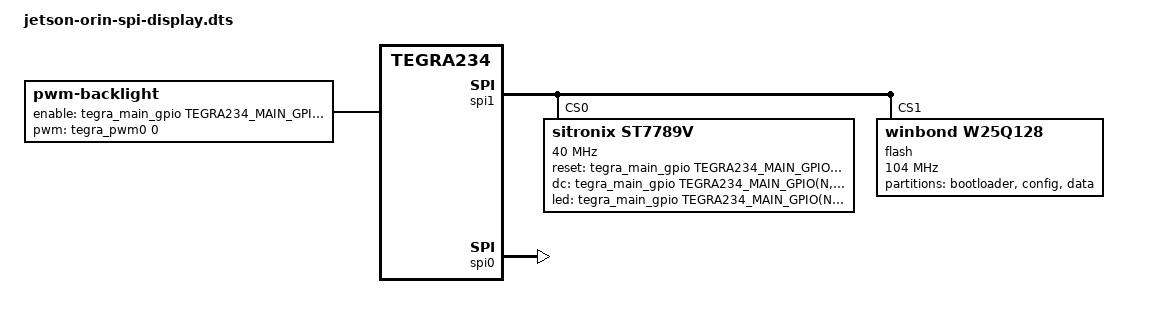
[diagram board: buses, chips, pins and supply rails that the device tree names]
/*
 * jetson-orin-spi-display.dts - SPI device tree overlay for Jetson Orin AGX
 *
 * This overlay configures SPI devices on the Jetson Orin 40-pin header,
 * including SPI displays (ST7789, ILI9341), SPI flash, and custom peripherals.
 *
 * Compile with:
 *   dtc -@ -I dts -O dtb -o jetson-orin-spi-display.dtbo jetson-orin-spi-display.dts
 *
 * Learning objectives:
 * 1. Understand SPI device configuration in device tree
 * 2. Learn SPI timing parameters and chip select configuration
 * 3. Practice DMA and interrupt configuration for SPI
 * 4. Handle framebuffer device setup for SPI displays
 */

/dts-v1/;
/plugin/;

#include <dt-bindings/gpio/tegra234-gpio.h>
#include <dt-bindings/interrupt-controller/irq.h>

/ {
    compatible = "nvidia,p3737-0000+p3701-0000", "nvidia,tegra234";

    /* Fragment targeting SPI1 controller (40-pin header) */
    fragment@0 {
        target = <&spi1>;  /* SPI1 - pins 19,21,23,24,26 */

        __overlay__ {
            status = "okay";

            /* SPI bus configuration */
            spi-max-frequency = <50000000>;  /* 50 MHz max */
            num-cs = <2>;  /* Number of chip select lines */

            /* ST7789V 240x320 SPI LCD Display */
            st7789v@0 {
                compatible = "sitronix,st7789v";
                reg = <0>;  /* Chip select 0 */
                spi-max-frequency = <40000000>;  /* 40 MHz */
                spi-cpol;  /* Clock polarity: idle high */
                spi-cpha;  /* Clock phase: sample on second edge */

                /* Display control GPIOs */
                reset-gpios = <&tegra_main_gpio TEGRA234_MAIN_GPIO(H, 0) GPIO_ACTIVE_LOW>;
                dc-gpios = <&tegra_main_gpio TEGRA234_MAIN_GPIO(N, 1) GPIO_ACTIVE_HIGH>;
                led-gpios = <&tegra_main_gpio TEGRA234_MAIN_GPIO(N, 2) GPIO_ACTIVE_HIGH>;

                /* Display dimensions */
                width-mm = <36>;
                height-mm = <48>;

                /* Rotation: 0, 90, 180, 270 degrees */
                rotation = <0>;

                /* Framebuffer configuration */
                buswidth = <8>;  /* 8-bit parallel interface */
                fps = <60>;      /* Target 60 fps */
                bgr;             /* BGR pixel order (not RGB) */

                /* Display init sequence (gamma, power, etc.) */
                init = <
                    0x01000011  /* Sleep out */
                    0x02000078  /* 120ms delay */
                    0x01000036  /* Memory access control */
                    0x02000000  /* Row/column order */
                    0x0100003A  /* Pixel format */
                    0x02000055  /* 16-bit color */
                    0x01000029  /* Display on */
                >;

                status = "okay";
            };

            /* ILI9341 320x240 SPI LCD Display (alternative) */
            ili9341@0 {
                compatible = "ilitek,ili9341";
                reg = <0>;
                spi-max-frequency = <32000000>;  /* 32 MHz */
                spi-cpol;
                spi-cpha;

                reset-gpios = <&tegra_main_gpio TEGRA234_MAIN_GPIO(H, 0) GPIO_ACTIVE_LOW>;
                dc-gpios = <&tegra_main_gpio TEGRA234_MAIN_GPIO(N, 1) GPIO_ACTIVE_HIGH>;

                rotation = <90>;
                bgr;
                fps = <30>;

                status = "disabled";  /* Only one display active at a time */
            };

            /* W25Q128 SPI NOR Flash - 16MB */
            flash@1 {
                compatible = "winbond,w25q128", "jedec,spi-nor";
                reg = <1>;  /* Chip select 1 */
                spi-max-frequency = <104000000>;  /* 104 MHz max */

                /* Partition table */
                partitions {
                    compatible = "fixed-partitions";
                    #address-cells = <1>;
                    #size-cells = <1>;

                    partition@0 {
                        label = "bootloader";
                        reg = <0x000000 0x100000>;  /* 1MB */
                        read-only;
                    };

                    partition@100000 {
                        label = "config";
                        reg = <0x100000 0x100000>;  /* 1MB */
                    };

                    partition@200000 {
                        label = "data";
                        reg = <0x200000 0xE00000>;  /* 14MB */
                    };
                };

                status = "okay";
            };

            /* MCP3008 8-channel 10-bit ADC */
            mcp3008@1 {
                compatible = "microchip,mcp3008";
                reg = <1>;
                spi-max-frequency = <1000000>;  /* 1 MHz */
                vref-supply = <&vdd_3v3_sys>;
                status = "disabled";
            };
        };
    };

    /* Fragment for SPI0 controller (alternative SPI bus) */
    fragment@1 {
        target = <&spi0>;  /* SPI0 - pins 19,21,23,24,26 (alternate function) */

        __overlay__ {
            status = "okay";
            spi-max-frequency = <25000000>;

            /* MFRC522 RFID Reader */
            mfrc522@0 {
                compatible = "nxp,mfrc522";
                reg = <0>;
                spi-max-frequency = <10000000>;  /* 10 MHz max */

                interrupt-parent = <&tegra_main_gpio>;
                interrupts = <TEGRA234_MAIN_GPIO(Q, 7) IRQ_TYPE_EDGE_FALLING>;
                reset-gpios = <&tegra_main_gpio TEGRA234_MAIN_GPIO(H, 0) GPIO_ACTIVE_LOW>;

                status = "disabled";
            };

            /* BME680 Environmental Sensor (SPI mode) */
            bme680@0 {
                compatible = "bosch,bme680";
                reg = <0>;
                spi-max-frequency = <10000000>;
                status = "disabled";
            };
        };
    };

    /* Fragment for pinmux - configure SPI pins */
    fragment@2 {
        target = <&pinmux>;

        __overlay__ {
            spi1_pins: spi1-pins {
                spi1-mosi {
                    nvidia,pins = "spi1_mosi_pz5";
                    nvidia,function = "spi1";
                    nvidia,pull = <TEGRA_PIN_PULL_DOWN>;
                    nvidia,tristate = <TEGRA_PIN_DISABLE>;
                    nvidia,enable-input = <TEGRA_PIN_DISABLE>;
                };

                spi1-miso {
                    nvidia,pins = "spi1_miso_pz4";
                    nvidia,function = "spi1";
                    nvidia,pull = <TEGRA_PIN_PULL_DOWN>;
                    nvidia,tristate = <TEGRA_PIN_DISABLE>;
                    nvidia,enable-input = <TEGRA_PIN_ENABLE>;
                };

                spi1-sck {
                    nvidia,pins = "spi1_sck_pz3";
                    nvidia,function = "spi1";
                    nvidia,pull = <TEGRA_PIN_PULL_DOWN>;
                    nvidia,tristate = <TEGRA_PIN_DISABLE>;
                    nvidia,enable-input = <TEGRA_PIN_DISABLE>;
                };

                spi1-cs0 {
                    nvidia,pins = "spi1_cs0_pz6";
                    nvidia,function = "spi1";
                    nvidia,pull = <TEGRA_PIN_PULL_UP>;
                    nvidia,tristate = <TEGRA_PIN_DISABLE>;
                    nvidia,enable-input = <TEGRA_PIN_DISABLE>;
                };

                spi1-cs1 {
                    nvidia,pins = "spi1_cs1_pz7";
                    nvidia,function = "spi1";
                    nvidia,pull = <TEGRA_PIN_PULL_UP>;
                    nvidia,tristate = <TEGRA_PIN_DISABLE>;
                    nvidia,enable-input = <TEGRA_PIN_DISABLE>;
                };
            };

            /* GPIO pins for display control */
            display_control_pins: display-control-pins {
                display-reset {
                    nvidia,pins = "ph.00";
                    nvidia,function = "gpio";
                    nvidia,pull = <TEGRA_PIN_PULL_NONE>;
                    nvidia,tristate = <TEGRA_PIN_DISABLE>;
                    nvidia,enable-input = <TEGRA_PIN_DISABLE>;
                };

                display-dc {
                    nvidia,pins = "pn.01";
                    nvidia,function = "gpio";
                    nvidia,pull = <TEGRA_PIN_PULL_NONE>;
                    nvidia,tristate = <TEGRA_PIN_DISABLE>;
                    nvidia,enable-input = <TEGRA_PIN_DISABLE>;
                };

                display-backlight {
                    nvidia,pins = "pn.02";
                    nvidia,function = "gpio";
                    nvidia,pull = <TEGRA_PIN_PULL_NONE>;
                    nvidia,tristate = <TEGRA_PIN_DISABLE>;
                    nvidia,enable-input = <TEGRA_PIN_DISABLE>;
                };
            };
        };
    };

    /* Fragment for framebuffer device */
    fragment@3 {
        target-path = "/";

        __overlay__ {
            /* Framebuffer device for SPI display */
            spi_display_fb: framebuffer@0 {
                compatible = "simple-framebuffer";
                status = "okay";

                width = <240>;
                height = <320>;
                stride = <480>;  /* width * 2 (16-bit color) */
                format = "r5g6b5";  /* RGB565 pixel format */

                display = <&st7789v>;
            };

            /* Backlight control via PWM */
            backlight: backlight {
                compatible = "pwm-backlight";
                pwms = <&tegra_pwm0 0 1000000>;  /* 1kHz PWM */
                brightness-levels = <0 4 8 16 32 64 128 255>;
                default-brightness-level = <6>;
                enable-gpios = <&tegra_main_gpio TEGRA234_MAIN_GPIO(N, 2) GPIO_ACTIVE_HIGH>;
                status = "okay";
            };
        };
    };
};

/*
 * SPI Pin Mapping on Jetson Orin AGX 40-pin Header:
 *
 * Pin  | Signal    | Function | SPI Bus
 * -----|-----------|----------|--------
 *  19  | SPI0_MOSI | MOSI     | SPI0
 *  21  | SPI0_MISO | MISO     | SPI0
 *  23  | SPI0_SCK  | SCLK     | SPI0
 *  24  | SPI0_CS0  | CS0      | SPI0
 *  26  | SPI0_CS1  | CS1      | SPI0
 *
 * Alternate (SPI1):
 *  13  | SPI1_SCK  | SCLK     | SPI1
 *  16  | SPI1_CS1  | CS1      | SPI1
 *  18  | SPI1_CS0  | CS0      | SPI1
 *  19  | SPI1_MOSI | MOSI     | SPI1
 *  21  | SPI1_MISO | MISO     | SPI1
 */

/*
 * SPI Modes (CPOL/CPHA):
 *
 * Mode | CPOL | CPHA | Description
 * -----|------|------|-------------
 *  0   |  0   |  0   | Clock idle low, sample on rising edge
 *  1   |  0   |  1   | Clock idle low, sample on falling edge
 *  2   |  1   |  0   | Clock idle high, sample on falling edge
 *  3   |  1   |  1   | Clock idle high, sample on rising edge
 *
 * Most displays use mode 0 or mode 3
 */

/*
 * Testing SPI devices:
 *
 * 1. List SPI buses:
 *    ls /dev/spidev*
 *
 * 2. Test SPI communication (spi-tools):
 *    spi-config -d /dev/spidev0.0 -q
 *    spi-pipe -d /dev/spidev0.0 -b 8 -s 1000000
 *
 * 3. Read SPI flash ID:
 *    flashrom -p linux_spi:dev=/dev/spidev1.1
 *    cat /sys/bus/spi/devices/spi1.1/modalias
 *
 * 4. Display framebuffer test:
 *    cat /dev/urandom > /dev/fb0  # Fill with random pixels
 *    fbset -i  # Show framebuffer info
 *    dd if=/dev/zero of=/dev/fb0  # Clear screen
 *
 * 5. SPI performance test:
 *    time dd if=/dev/zero of=/dev/spidev0.0 bs=4096 count=1000
 */

/*
 * Kernel SPI driver example:
 *
 * #include <linux/spi/spi.h>
 *
 * static int display_spi_write_cmd(struct spi_device *spi, u8 cmd) {
 *     struct spi_transfer t = {
 *         .tx_buf = &cmd,
 *         .len = 1,
 *     };
 *     struct spi_message m;
 *
 *     spi_message_init(&m);
 *     spi_message_add_tail(&t, &m);
 *
 *     return spi_sync(spi, &m);
 * }
 *
 * static int display_probe(struct spi_device *spi) {
 *     // Configure SPI parameters
 *     spi->mode = SPI_MODE_3;
 *     spi->bits_per_word = 8;
 *     spi->max_speed_hz = 40000000;
 *
 *     return spi_setup(spi);
 * }
 */

/*
 * Display Initialization Sequence (ST7789V):
 *
 * 1. Hardware reset (toggle RESET GPIO)
 * 2. Sleep out (0x11)
 * 3. Wait 120ms
 * 4. Set pixel format (0x3A) - RGB565
 * 5. Set memory access control (0x36) - rotation
 * 6. Display on (0x29)
 * 7. Start streaming pixel data (0x2C)
 */

/*
 * Performance Optimization:
 *
 * - Use DMA for large transfers (automatically enabled)
 * - Batch SPI transactions to reduce overhead
 * - Use double buffering for framebuffer updates
 * - Consider compressed pixel formats
 * - Optimize SPI clock frequency for your display
 */

/*
 * Troubleshooting:
 *
 * 1. Display shows garbage:
 *    - Check CPOL/CPHA settings (try different SPI modes)
 *    - Verify SPI clock frequency (try lower speed)
 *    - Check DC (Data/Command) GPIO polarity
 *
 * 2. No display output:
 *    - Verify reset sequence (check RESET GPIO)
 *    - Confirm power supply voltage (3.3V vs 5V)
 *    - Check SPI wiring (MOSI/MISO not swapped)
 *    - Verify chip select is working
 *
 * 3. SPI communication fails:
 *    - Check pinmux configuration
 *    - Verify chip select polarity
 *    - Try reducing clock frequency
 *    - Check for bus contention (only one master)
 */

/*
 * Framebuffer access from userspace:
 *
 * #include <linux/fb.h>
 * #include <sys/mman.h>
 *
 * int fd = open("/dev/fb0", O_RDWR);
 * struct fb_var_screeninfo vinfo;
 * ioctl(fd, FBIOGET_VSCREENINFO, &vinfo);
 *
 * size_t screensize = vinfo.yres * vinfo.xres * vinfo.bits_per_pixel / 8;
 * uint16_t *fbp = mmap(0, screensize, PROT_READ | PROT_WRITE, MAP_SHARED, fd, 0);
 *
 * // Draw red pixel at (100, 100)
 * int location = 100 * vinfo.xres + 100;
 * fbp[location] = 0xF800;  // RGB565 red
 *
 * munmap(fbp, screensize);
 * close(fd);
 */
